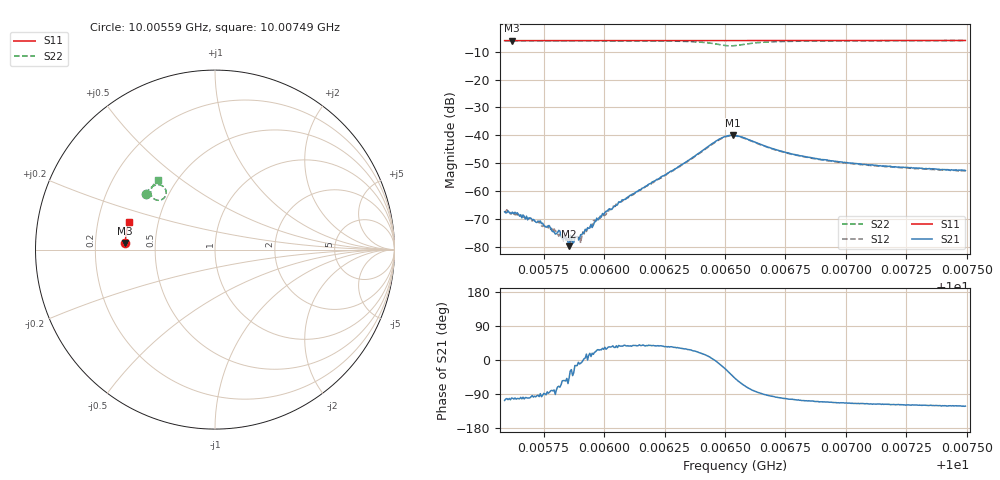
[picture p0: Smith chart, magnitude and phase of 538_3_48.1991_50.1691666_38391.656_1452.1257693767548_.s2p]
#  HZ  S  RI  R  50.00
! Rohde & Schwarz Vector Network Analyzer
! Rohde-Schwarz,ZNB20-2Port,1311601062101988,3.16
! Created: UTC 3/20/2024, 12:00:10 PM
! freq[Hz]  re:S11  im:S11  re:S21  im:S21  re:S12  im:S12  re:S22  im:S22
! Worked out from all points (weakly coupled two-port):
!   401 points, 10.00559 GHz to 10.00749 GHz, reference 50 ohm
!   highest |S21| = -39.99 dB at 10.00653 GHz (marker M1); lowest = -79.9 dB at 10.00586 GHz (marker M2)
!   lowest |S11| = -6.0 dB at 10.00562 GHz (marker M3), VSWR 3.01, Z = 16.6 + j1.63 ohm
!   |S11| at or under -10 dB: nowhere
!   |S22| runs from -7.9 to -6.0 dB; largest |S21 - S12| = 0.00063
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1.0005589e10  -0.5002 0.0349  -0.000121 -0.000402  -8.05e-05 -0.000412  -0.387 0.3116
1.0005617e10  -0.4999 0.0367  -7.08e-05 -0.000385  -9e-05 -0.000378  -0.3858 0.3133
1.0005736e10  -0.4997 0.0444  5.84e-06 -0.000289  -9.86e-06 -0.000277  -0.3801 0.3205
1.0005774e10  -0.4994 0.047  1.99e-05 -0.000229  2.38e-06 -0.000238  -0.3782 0.3228
1.0005794e10  -0.4994 0.0482  3.49e-05 -0.000181  4.34e-05 -0.000202  -0.3771 0.3239
1.0005813e10  -0.4991 0.0495  6.9e-05 -0.000183  3.1e-05 -0.00015  -0.3763 0.3251
1.0005846e10  -0.4991 0.0516  9.59e-05 -0.000109  9.62e-05 -8.94e-05  -0.3745 0.3272
1.0005855e10  -0.4991 0.0523  6.87e-05 -7.48e-05  0.000123 -8.27e-05  -0.374 0.3279
1.0005879e10  -0.4991 0.0538  0.000139 -3.6e-05  0.000131 -8.22e-05  -0.3727 0.3293
1.0005894e10  -0.4989 0.0548  0.00013 -1.41e-05  0.000136 1.87e-05  -0.3721 0.3302
1.0005908e10  -0.499 0.0557  0.000164 -1.72e-05  0.000152 8.53e-06  -0.371 0.331
1.0005965e10  -0.4986 0.0593  0.000262 0.000106  0.000254 0.000129  -0.3676 0.3348
1.0006013e10  -0.4982 0.0625  0.000371 0.000223  0.000348 0.000246  -0.3645 0.3382
1.0006046e10  -0.498 0.0645  0.000456 0.000297  0.000409 0.00033  -0.3621 0.3404
1.0006227e10  -0.4967 0.0762  0.00133 0.001  0.00126 0.00102  -0.3446 0.3537
1.0006475e10  -0.4938 0.0922  0.00835 -0.00128  0.00816 -0.000807  -0.2732 0.3284
1.0006532e10  -0.4931 0.0952  0.00737 -0.00677  0.00758 -0.00622  -0.2916 0.2815
1.0006542e10  -0.4929 0.0958  0.00659 -0.0074  0.00689 -0.00689  -0.2997 0.2772
1.0006713e10  -0.492 0.1068  -0.000769 -0.00541  -0.000482 -0.00536  -0.3584 0.3205
1.0006861e10  -0.4902 0.1162  -0.00122 -0.00373  -0.00108 -0.00368  -0.3522 0.3447
1.000718e10  -0.4857 0.1364  -0.00126 -0.00247  -0.00113 -0.00245  -0.3344 0.3705
1.0007495e10  -0.4804 0.156  -0.00122 -0.00198  -0.00109 -0.002  -0.3178 0.3881
